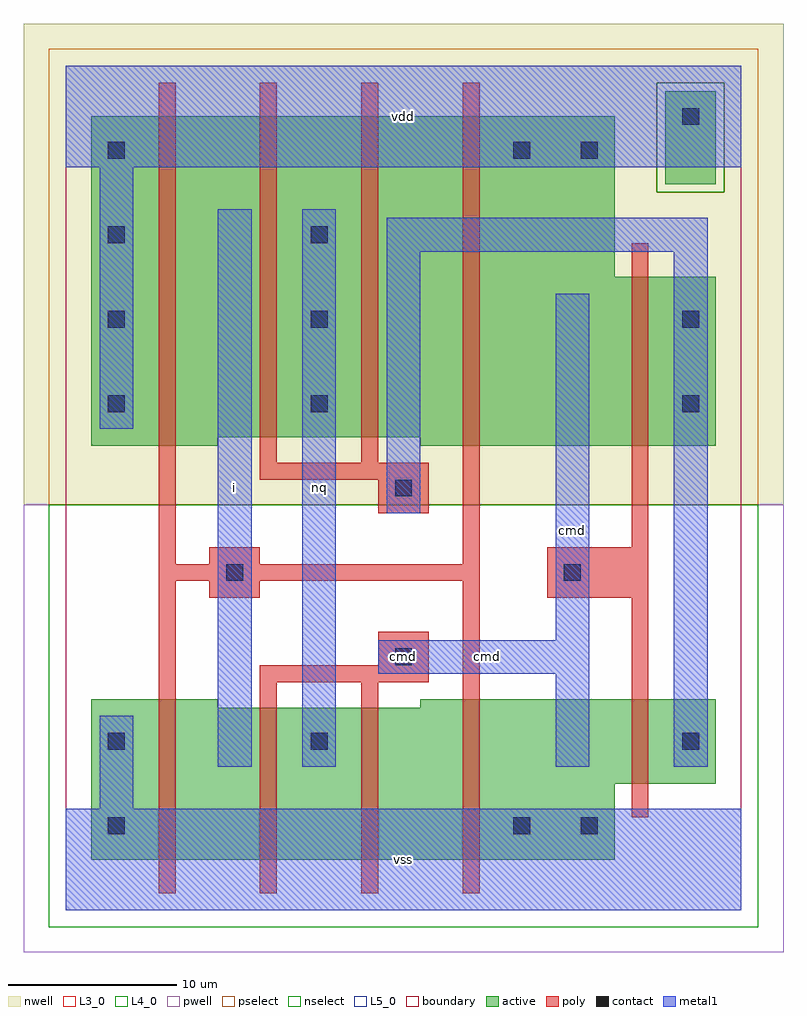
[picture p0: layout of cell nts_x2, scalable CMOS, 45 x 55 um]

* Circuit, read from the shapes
.subckt nts_x2 cmd i nq vdd vss
M1 n1 i vss VSUBS nfet w=9.5u l=1u
M2 nq cmd n1 VSUBS nfet w=9u l=1u
M3 n2 cmd nq VSUBS nfet w=9u l=1u
M4 vss i n2 VSUBS nfet w=9.5u l=1u
M5 n3 cmd vss VSUBS nfet w=5u l=1u
M6 n4 i vdd vdd pfet w=19.5u l=1u
M7 nq n3 n4 vdd pfet w=19u l=1u
M8 n5 n3 nq vdd pfet w=19u l=1u
M9 vdd i n5 vdd pfet w=19.5u l=1u
M10 n3 cmd vdd vdd pfet w=10u l=1u
.ends

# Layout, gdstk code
import gdstk
lib = gdstk.Library(unit=1e-6, precision=1e-09)
def R(c, l, rs):  # rectangles x0, y0, x1, y1
    for r in rs: c.add(gdstk.rectangle(r[:2], r[2:], *l))
def A(c, l, x, y, w, h, nx, ny, dx, dy):  # array of equal rectangles
    R(c, l, [(x+i*dx, y+j*dy, x+i*dx+w, y+j*dy+h) for i in range(nx) for j in range(ny)])
L3_0 = (3, 0)
L4_0 = (4, 0)
L5_0 = (5, 0)
contact = (25, 0)
pwell = (41, 0)
nwell = (42, 0)
active = (43, 0)
pselect = (44, 0)
nselect = (45, 0)
poly = (46, 0)
metal1 = (49, 0)
boundary = (63, 0)

nts_x2 = lib.new_cell('nts_x2')
R(nts_x2, L3_0, [(1.5,3,32.5,7.5), (1.5,7.5,38.5,12), (1.5,12,9,12.5), (21,12,38.5,12.5)])
R(nts_x2, L4_0, [(1.5,27.5,9,28), (21,27.5,38.5,28), (1.5,28,38.5,37.5), (1.5,37.5,32.5,47)])
R(nts_x2, L5_0, [(35.5,43,38.5,48.5)])
A(nts_x2, contact, 2.5, 29.5, 1, 1, 1, 4, 0, 5)
A(nts_x2, contact, 14.5, 29.5, 1, 1, 1, 3, 0, 5)
R(nts_x2, contact, [(2.5,4.5,3.5,5.5), (26.5,4.5,27.5,5.5), (30.5,4.5,31.5,5.5), (2.5,9.5,3.5,10.5), (14.5,9.5,15.5,10.5), (36.5,9.5,37.5,10.5), (19.5,14.5,20.5,15.5), (9.5,19.5,10.5,20.5), (29.5,19.5,30.5,20.5), (19.5,24.5,20.5,25.5), (36.5,29.5,37.5,30.5), (36.5,34.5,37.5,35.5), (26.5,44.5,27.5,45.5), (30.5,44.5,31.5,45.5), (36.5,46.5,37.5,47.5)])
R(nts_x2, pwell, [(-2.5,-2.5,42.5,24)])
R(nts_x2, nwell, [(-2.5,24,42.5,52.5)])
R(nts_x2, active, [(1.5,3,32.5,7.5), (1.5,7.5,38.5,12), (1.5,12,9,12.5), (21,12,38.5,12.5), (1.5,27.5,9,28), (21,27.5,38.5,28), (1.5,28,38.5,37.5), (1.5,37.5,32.5,47), (35.5,43,38.5,48.5)])
R(nts_x2, pselect, [(-1,24,41,42.5), (-1,42.5,35,49), (39,42.5,41,49), (-1,49,41,51)])
R(nts_x2, nselect, [(-1,-1,41,24), (35,42.5,39,49)])
R(nts_x2, poly, [(5.5,1,6.5,19.5), (11.5,1,12.5,13.5), (17.5,1,18.5,13.5), (23.5,1,24.5,19.5), (33.5,5.5,34.5,18.5), (11.5,13.5,21.5,14.5), (18.5,14.5,21.5,16.5), (8.5,18.5,11.5,19.5), (28.5,18.5,34.5,21.5), (5.5,19.5,24.5,20.5), (5.5,20.5,6.5,49), (8.5,20.5,11.5,21.5), (23.5,20.5,24.5,49), (33.5,21.5,34.5,39.5), (18.5,23.5,21.5,25.5), (11.5,25.5,21.5,26.5), (11.5,26.5,12.5,49), (17.5,26.5,18.5,49)])
R(nts_x2, metal1, [(0,0,40,6), (0,0,40,6), (2,6,4,11.5), (2,6,4,11.5), (9,8.5,11,41.5), (9,8.5,11,41.5), (14,8.5,16,41.5), (14,8.5,16,41.5), (29,8.5,31,14), (29,8.5,31,14), (36,8.5,38,39), (36,8.5,38,39), (18.5,14,31,16), (18.5,14,31,16), (29,16,31,36.5), (29,16,31,36.5), (19,23.5,21,39), (19,23.5,21,39), (2,28.5,4,44), (2,28.5,4,44), (19,39,38,41), (19,39,38,41), (0,44,40,50), (0,44,40,50)])
R(nts_x2, boundary, [(0,0,40,50)])
nts_x2.add(gdstk.Label('nq', (15,25), layer=49, texttype=0))
nts_x2.add(gdstk.Label('i', (10,25), layer=49, texttype=0))
nts_x2.add(gdstk.Label('vss', (20,3), layer=49, texttype=0))
nts_x2.add(gdstk.Label('cmd', (20,15), layer=49, texttype=0))
nts_x2.add(gdstk.Label('cmd', (25,15), layer=49, texttype=0))
nts_x2.add(gdstk.Label('vdd', (20,47), layer=49, texttype=0))
nts_x2.add(gdstk.Label('cmd', (30,22.5), layer=49, texttype=0))

lib.write_gds('nts_x2.gds')
